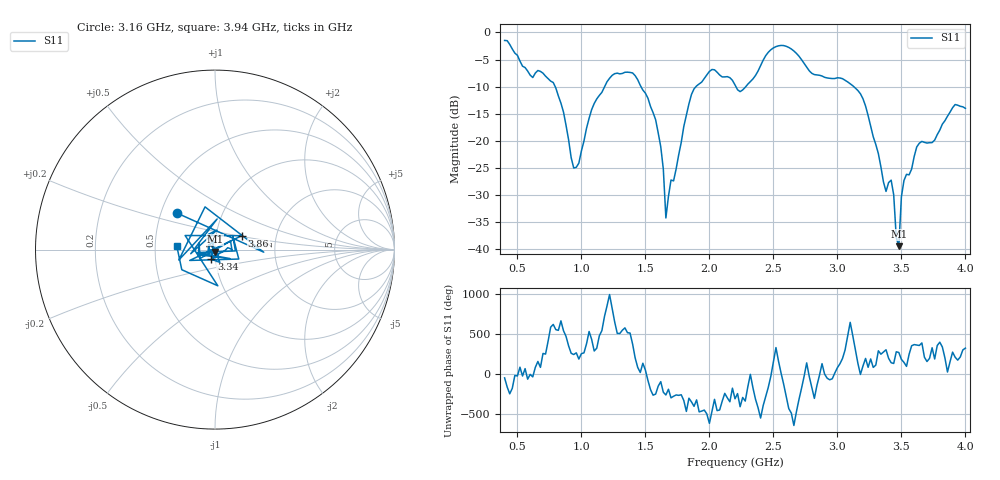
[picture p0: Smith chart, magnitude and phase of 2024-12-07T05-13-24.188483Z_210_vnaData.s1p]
!Created with skrf (http://scikit-rf.org).
# Hz S RI R 50.0
!freq ReS11 ImS11
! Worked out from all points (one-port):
!   181 points, 400 MHz to 4 GHz, reference 50 ohm
!   lowest |S11| = -39.4 dB at 3.48 GHz (marker M1), VSWR 1.02, Z = 50 - j1.07 ohm
!   |S11| at or under -10 dB: 795.3 MHz to 1.181 GHz (385.8 MHz wide, 39 % of centre); 1.466 GHz to 1.895 GHz (429.4 MHz wide, 25.6 % of centre); 3.128 GHz to end of sweep (the widest 3 of 4)
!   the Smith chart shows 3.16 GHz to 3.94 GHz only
!   S11 on the Smith chart (normalised r, x): 3.16 GHz: 0.61, +0.27; 3.34 GHz: 0.95, -0.10; 3.86 GHz: 1.33, +0.21; 3.94 GHz: 0.65, +0.02
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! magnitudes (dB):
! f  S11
! 400 MHz  -1.5
! 780 MHz  -9.2
! 860 MHz  -14.7
! 960 MHz  -24.9
! 1.1 GHz  -13.1
! 1.3 GHz  -7.6
! 1.42 GHz  -8.0
! 1.58 GHz  -16.1
! 1.64 GHz  -25.2
! 1.66 GHz  -34.2
! 1.76 GHz  -22.6
! 1.88 GHz  -10.4
! 2.02 GHz  -6.8
! 2.2 GHz  -9.7
! 2.5 GHz  -2.8
! 2.66 GHz  -3.4
! 3.1 GHz  -9.5
! 3.16 GHz  -10.7
! 3.34 GHz  -24.8
! 3.38 GHz  -29.3
! 3.42 GHz  -27.3
! 3.48 GHz  -39.4
! 3.5 GHz  -30.3
! 3.56 GHz  -26.3
! 3.62 GHz  -21.1
! 3.86 GHz  -15.5
! 3.94 GHz  -13.4
! 4 GHz  -14.0
